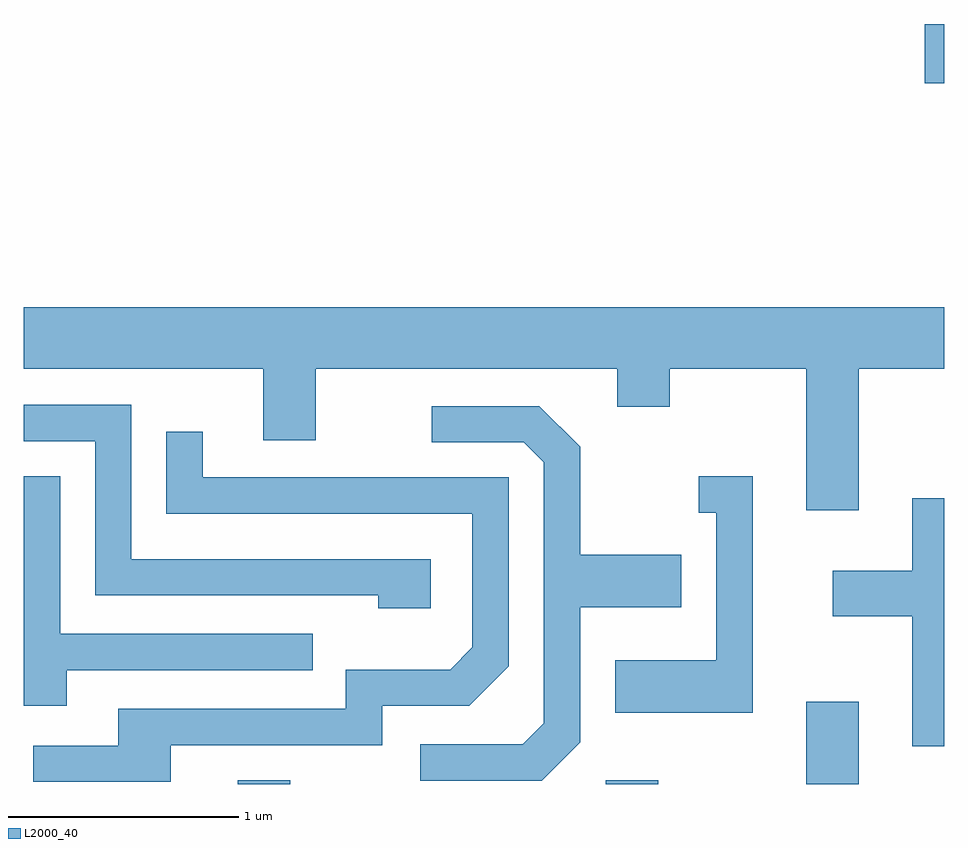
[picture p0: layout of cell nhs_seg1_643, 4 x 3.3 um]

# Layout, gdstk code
import gdstk
lib = gdstk.Library(unit=1e-6, precision=1e-09)
def R(c, l, rs):  # rectangles x0, y0, x1, y1
    for r in rs: c.add(gdstk.rectangle(r[:2], r[2:], *l))
def P(c, l, *ps):  # polygons
    for p in ps: c.add(gdstk.Polygon(p, *l))
L2000_40 = (2000, 40)

nhs_seg1_643 = lib.new_cell('nhs_seg1_643')
R(nhs_seg1_643, L2000_40, [(204.541,957.712,204.769,957.729), (206.141,957.712,206.369,957.729), (207.011,957.712,207.239,958.069), (207.526,960.756,207.611,961.014)])
P(nhs_seg1_643, L2000_40, [(207.239,959.516),(207.611,959.516),(207.611,959.784),(203.611,959.784),(203.611,959.516),(204.651,959.516),(204.651,959.206),(204.879,959.206),(204.879,959.516),(206.191,959.516),(206.191,959.351),(206.419,959.351),(206.419,959.516),(207.011,959.516),(207.011,958.901),(207.239,958.901)],
  [(205.379,958.689),(204.079,958.689),(204.079,959.359),(203.611,959.359),(203.611,959.201),(203.921,959.201),(203.921,958.531),(205.151,958.531),(205.151,958.476),(205.379,958.476)],
  [(206.029,957.894),(206.029,958.481),(206.469,958.481),(206.469,958.709),(206.029,958.709),(206.029,959.177),(205.852,959.354),(205.383,959.354),(205.383,959.196),(205.784,959.196),(205.871,959.109),(205.871,957.977),(205.779,957.884),(205.333,957.884),(205.333,957.726),(205.862,957.726)],
  [(204.249,957.881),(205.169,957.881),(205.169,958.051),(205.547,958.051),(205.719,958.224),(205.719,959.044),(204.389,959.044),(204.389,959.243),(204.231,959.243),(204.231,958.886),(205.561,958.886),(205.561,958.307),(205.464,958.209),(205.011,958.209),(205.011,958.039),(204.021,958.039),(204.021,957.879),(203.653,957.879),(203.653,957.721),(204.249,957.721)],
  [(203.799,958.206),(204.868,958.206),(204.868,958.364),(203.769,958.364),(203.769,959.049),(203.611,959.049),(203.611,958.051),(203.799,958.051)],
  [(206.779,959.049),(206.543,959.049),(206.543,958.891),(206.621,958.891),(206.621,958.249),(206.181,958.249),(206.181,958.021),(206.779,958.021)],
  [(207.611,958.954),(207.471,958.954),(207.471,958.639),(207.126,958.639),(207.126,958.441),(207.471,958.441),(207.471,957.876),(207.611,957.876)])

lib.write_gds('nhs_seg1_643.gds')
